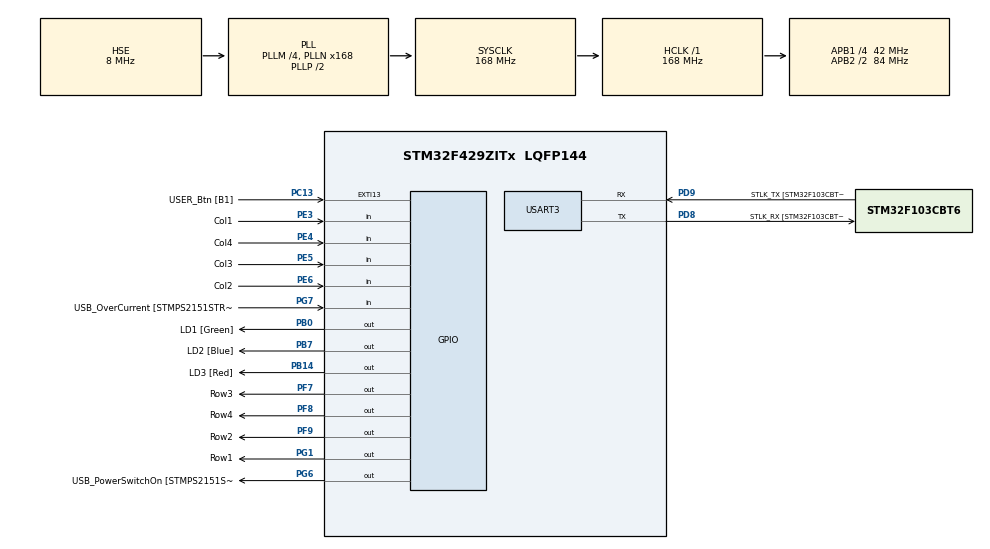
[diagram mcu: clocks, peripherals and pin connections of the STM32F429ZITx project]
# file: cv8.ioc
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Mcu.Family=STM32F4
Mcu.Name=STM32F429ZITx
Mcu.Package=LQFP144
NVIC.PriorityGroup=NVIC_PRIORITYGROUP_4
NVIC.TIM3_IRQn=true\:0\:0\:false\:false\:true\:true\:true\:true
PA1.GPIO_Label=RMII_REF_CLK [LAN8742A-CZ-TR_REFCLK0]
PA1.Signal=ETH_REF_CLK
PA10.GPIO_Label=USB_ID
PA10.Signal=USB_OTG_FS_ID
PA11.GPIO_Label=USB_DM
PA11.Signal=USB_OTG_FS_DM
PA12.GPIO_Label=USB_DP
PA12.Signal=USB_OTG_FS_DP
PA13.GPIO_Label=TMS
PA13.Mode=Serial_Wire
PA13.Signal=SYS_JTMS-SWDIO
PA14.GPIO_Label=TCK
PA14.Mode=Serial_Wire
PA14.Signal=SYS_JTCK-SWCLK
PA2.GPIO_Label=RMII_MDIO [LAN8742A-CZ-TR_MDIO]
PA2.Signal=ETH_MDIO
PA7.GPIO_Label=RMII_CRS_DV [LAN8742A-CZ-TR_CRS_DV]
PA7.Signal=ETH_CRS_DV
PA8.GPIO_Label=USB_SOF [TP1]
PA8.Signal=USB_OTG_FS_SOF
PA9.GPIO_Label=USB_VBUS
PA9.Signal=USB_OTG_FS_VBUS
PB0.GPIO_Label=LD1 [Green]
PB0.Signal=GPIO_Output
PB13.GPIO_Label=RMII_TXD1 [LAN8742A-CZ-TR_TXD1]
PB13.Signal=ETH_TXD1
PB14.GPIO_Label=LD3 [Red]
PB14.Signal=GPIO_Output
PB7.GPIO_Label=LD2 [Blue]
PB7.Signal=GPIO_Output
PC1.GPIO_Label=RMII_MDC [LAN8742A-CZ-TR_MDC]
PC1.Signal=ETH_MDC
PC13.GPIO_Label=USER_Btn [B1]
PC13.Signal=GPXTI13
PC14/OSC32_IN.Mode=LSE-External-Oscillator
PC14/OSC32_IN.Signal=RCC_OSC32_IN
PC15/OSC32_OUT.Mode=LSE-External-Oscillator
PC15/OSC32_OUT.Signal=RCC_OSC32_OUT
PC4.GPIO_Label=RMII_RXD0 [LAN8742A-CZ-TR_RXD0]
PC4.Signal=ETH_RXD0
PC5.GPIO_Label=RMII_RXD1 [LAN8742A-CZ-TR_RXD1]
PC5.Signal=ETH_RXD1
PD8.GPIO_Label=STLK_RX [STM32F103CBT6_PA3]
PD8.Mode=Asynchronous
PD8.Signal=USART3_TX
PD9.GPIO_Label=STLK_TX [STM32F103CBT6_PA2]
PD9.Mode=Asynchronous
PD9.Signal=USART3_RX
PE3.GPIO_Label=Col1
PE3.GPIO_PuPd=GPIO_PULLUP
PE3.Signal=GPIO_Input
PE4.GPIO_Label=Col4
PE4.GPIO_PuPd=GPIO_PULLUP
PE4.Signal=GPIO_Input
PE5.GPIO_Label=Col3
PE5.GPIO_PuPd=GPIO_PULLUP
PE5.Signal=GPIO_Input
PE6.GPIO_Label=Col2
PE6.GPIO_PuPd=GPIO_PULLUP
PE6.Signal=GPIO_Input
PF7.GPIO_Label=Row3
PF7.GPIO_ModeDefaultOutputPP=GPIO_MODE_OUTPUT_OD
PF7.GPIO_PuPd=GPIO_NOPULL
PF7.Signal=GPIO_Output
PF8.GPIO_Label=Row4
PF8.GPIO_ModeDefaultOutputPP=GPIO_MODE_OUTPUT_OD
PF8.GPIO_PuPd=GPIO_NOPULL
PF8.Signal=GPIO_Output
PF9.GPIO_Label=Row2
PF9.GPIO_ModeDefaultOutputPP=GPIO_MODE_OUTPUT_OD
PF9.GPIO_PuPd=GPIO_NOPULL
PF9.Signal=GPIO_Output
PG1.GPIO_Label=Row1
PG1.GPIO_ModeDefaultOutputPP=GPIO_MODE_OUTPUT_OD
PG1.GPIO_PuPd=GPIO_NOPULL
PG1.Signal=GPIO_Output
PG11.GPIO_Label=RMII_TX_EN [LAN8742A-CZ-TR_TXEN]
PG11.Signal=ETH_TX_EN
PG13.GPIO_Label=RMII_TXD0 [LAN8742A-CZ-TR_TXD0]
PG13.Signal=ETH_TXD0
PG6.GPIO_Label=USB_PowerSwitchOn [STMPS2151STR_EN]
PG6.Signal=GPIO_Output
PG7.GPIO_Label=USB_OverCurrent [STMPS2151STR_FAULT]
PG7.Signal=GPIO_Input
PH0/OSC_IN.GPIO_Label=MCO [STM32F103CBT6_PA8]
PH0/OSC_IN.Mode=HSE-External-Clock-Source
PH0/OSC_IN.Signal=RCC_OSC_IN
PH1/OSC_OUT.Mode=HSE-External-Clock-Source
PH1/OSC_OUT.Signal=RCC_OSC_OUT
ProjectManager.HeapSize=0x200
ProjectManager.StackSize=0x400
ProjectManager.TargetToolchain=STM32CubeIDE
RCC.48MHZClocksFreq_Value=48000000
RCC.AHBFreq_Value=168000000
RCC.APB1CLKDivider=RCC_HCLK_DIV4
RCC.APB1Freq_Value=42000000
RCC.APB1TimFreq_Value=84000000
RCC.APB2CLKDivider=RCC_HCLK_DIV2
RCC.APB2Freq_Value=84000000
RCC.APB2TimCLKDivider=2
RCC.APB2TimFreq_Value=168000000
RCC.CortexFreq_Value=168000000
RCC.HCLKFreq_Value=168000000
RCC.HSE_VALUE=8000000
RCC.HSI_VALUE=16000000
RCC.PLLM=4
RCC.PLLMUL=RCC_PLL_MUL9
RCC.PLLN=168
RCC.PLLQ=7
RCC.PLLSourceVirtual=RCC_PLLSOURCE_HSE
RCC.PRESCALERUSB=RCC_USBCLKSOURCE_PLL_DIV1_5
RCC.SYSCLKFreq_VALUE=168000000
RCC.SYSCLKSource=RCC_SYSCLKSOURCE_PLLCLK
RCC.SYSCLKSourceVirtual=RCC_SYSCLKSOURCE_PLLCLK
RCC.USBFreq_Value=48000000
RCC.VCOOutputFreq_Value=336000000
TIM3.Period=99
TIM3.Prescaler=8399
USART3.VirtualMode=VM_ASYNC
VP_TIM3_VS_ClockSourceINT.Mode=Internal
board=NUCLEO-F429ZI

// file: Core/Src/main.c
/* USER CODE BEGIN Header */
/**
  ******************************************************************************
  * @file           : main.c
  * @brief          : Main program body
  ******************************************************************************
  * @attention
  *
  * Copyright (c) 2023 STMicroelectronics.
  * All rights reserved.
  *
  * This software is licensed under terms that can be found in the LICENSE file
  * in the root directory of this software component.
  * If no LICENSE file comes with this software, it is provided AS-IS.
  *
  ******************************************************************************
  */
/* USER CODE END Header */
#include "main.h"

/* USER CODE BEGIN Includes */
#include <stdio.h>
/* USER CODE END Includes */

TIM_HandleTypeDef htim3;

UART_HandleTypeDef huart3;

/* USER CODE BEGIN PV */
volatile static int8_t key = -1;
volatile static uint8_t compare = 0;
/* USER CODE END PV */

void SystemClock_Config(void);
static void MX_GPIO_Init(void);
static void MX_USART3_UART_Init(void);
static void MX_TIM3_Init(void);

/* USER CODE BEGIN 0 */
int __io_putchar(int ch)
{
	ITM_SendChar(ch);
	return 0;
}

/* USER CODE END 0 */

int main(void)
{

  /* MCU Configuration--------------------------------------------------------*/

  /* Reset of all peripherals, Initializes the Flash interface and the Systick. */
  HAL_Init();

  /* Configure the system clock */
  SystemClock_Config();

  /* USER CODE BEGIN SysInit */
  uint8_t pin [] = {7,9,3,2,12};
  uint8_t pos = 0;

  /* USER CODE END SysInit */

  /* Initialize all configured peripherals */
  MX_GPIO_Init();
  MX_USART3_UART_Init();
  MX_TIM3_Init();
  /* USER CODE BEGIN 2 */
  HAL_TIM_Base_Start_IT(&htim3);
  /* USER CODE END 2 */

  /* Infinite loop */
  /* USER CODE BEGIN WHILE */
  while (1)
  {

	  //printf("hello\n");
	  if (key!=-1)
	  {
		  if (key==pin[pos])
		  {
			  pos++;
			  if (pos ==sizeof(pin))
			  {
				  HAL_GPIO_TogglePin(LD1_GPIO_Port, LD1_Pin);
				  printf("spravne heslo\n");
				  pos =0;
			  }

		  }else {
			  pos =0;
		  }

		  printf("pin = %d > pos = %d\n", key, pos);
		  HAL_Delay(500);
		  key = -1;
	  }

    /* USER CODE END WHILE */

  }
}

void SystemClock_Config(void)
{
  RCC_OscInitTypeDef RCC_OscInitStruct = {0};
  RCC_ClkInitTypeDef RCC_ClkInitStruct = {0};

  /** Configure the main internal regulator output voltage
  */
  __HAL_RCC_PWR_CLK_ENABLE();
  __HAL_PWR_VOLTAGESCALING_CONFIG(PWR_REGULATOR_VOLTAGE_SCALE1);

  /** Initializes the RCC Oscillators according to the specified parameters
  * in the RCC_OscInitTypeDef structure.
  */
  RCC_OscInitStruct.OscillatorType = RCC_OSCILLATORTYPE_HSE;
  RCC_OscInitStruct.HSEState = RCC_HSE_BYPASS;
  RCC_OscInitStruct.PLL.PLLState = RCC_PLL_ON;
  RCC_OscInitStruct.PLL.PLLSource = RCC_PLLSOURCE_HSE;
  RCC_OscInitStruct.PLL.PLLM = 4;
  RCC_OscInitStruct.PLL.PLLN = 168;
  RCC_OscInitStruct.PLL.PLLP = RCC_PLLP_DIV2;
  RCC_OscInitStruct.PLL.PLLQ = 7;
  if (HAL_RCC_OscConfig(&RCC_OscInitStruct) != HAL_OK)
  {
    Error_Handler();
  }

  /** Initializes the CPU, AHB and APB buses clocks
  */
  RCC_ClkInitStruct.ClockType = RCC_CLOCKTYPE_HCLK|RCC_CLOCKTYPE_SYSCLK
                              |RCC_CLOCKTYPE_PCLK1|RCC_CLOCKTYPE_PCLK2;
  RCC_ClkInitStruct.SYSCLKSource = RCC_SYSCLKSOURCE_PLLCLK;
  RCC_ClkInitStruct.AHBCLKDivider = RCC_SYSCLK_DIV1;
  RCC_ClkInitStruct.APB1CLKDivider = RCC_HCLK_DIV4;
  RCC_ClkInitStruct.APB2CLKDivider = RCC_HCLK_DIV2;

  if (HAL_RCC_ClockConfig(&RCC_ClkInitStruct, FLASH_LATENCY_5) != HAL_OK)
  {
    Error_Handler();
  }
}

static void MX_TIM3_Init(void)
{

  TIM_ClockConfigTypeDef sClockSourceConfig = {0};
  TIM_MasterConfigTypeDef sMasterConfig = {0};

  htim3.Instance = TIM3;
  htim3.Init.Prescaler = 8399;
  htim3.Init.CounterMode = TIM_COUNTERMODE_UP;
  htim3.Init.Period = 99;
  htim3.Init.ClockDivision = TIM_CLOCKDIVISION_DIV1;
  htim3.Init.AutoReloadPreload = TIM_AUTORELOAD_PRELOAD_DISABLE;
  if (HAL_TIM_Base_Init(&htim3) != HAL_OK)
  {
    Error_Handler();
  }
  sClockSourceConfig.ClockSource = TIM_CLOCKSOURCE_INTERNAL;
  if (HAL_TIM_ConfigClockSource(&htim3, &sClockSourceConfig) != HAL_OK)
  {
    Error_Handler();
  }
  sMasterConfig.MasterOutputTrigger = TIM_TRGO_RESET;
  sMasterConfig.MasterSlaveMode = TIM_MASTERSLAVEMODE_DISABLE;
  if (HAL_TIMEx_MasterConfigSynchronization(&htim3, &sMasterConfig) != HAL_OK)
  {
    Error_Handler();
  }

}

static void MX_USART3_UART_Init(void)
{

  huart3.Instance = USART3;
  huart3.Init.BaudRate = 115200;
  huart3.Init.WordLength = UART_WORDLENGTH_8B;
  huart3.Init.StopBits = UART_STOPBITS_1;
  huart3.Init.Parity = UART_PARITY_NONE;
  huart3.Init.Mode = UART_MODE_TX_RX;
  huart3.Init.HwFlowCtl = UART_HWCONTROL_NONE;
  huart3.Init.OverSampling = UART_OVERSAMPLING_16;
  if (HAL_UART_Init(&huart3) != HAL_OK)
  {
    Error_Handler();
  }

}

static void MX_GPIO_Init(void)
{
  GPIO_InitTypeDef GPIO_InitStruct = {0};

  /* GPIO Ports Clock Enable */
  __HAL_RCC_GPIOE_CLK_ENABLE();
  __HAL_RCC_GPIOC_CLK_ENABLE();
  __HAL_RCC_GPIOF_CLK_ENABLE();
  __HAL_RCC_GPIOH_CLK_ENABLE();
  __HAL_RCC_GPIOA_CLK_ENABLE();
  __HAL_RCC_GPIOB_CLK_ENABLE();
  __HAL_RCC_GPIOG_CLK_ENABLE();
  __HAL_RCC_GPIOD_CLK_ENABLE();

  /*Configure GPIO pin Output Level */
  HAL_GPIO_WritePin(GPIOF, Row3_Pin|Row4_Pin|Row2_Pin, GPIO_PIN_RESET);

  /*Configure GPIO pin Output Level */
  HAL_GPIO_WritePin(GPIOB, LD1_Pin|LD3_Pin|LD2_Pin, GPIO_PIN_RESET);

  /*Configure GPIO pin Output Level */
  HAL_GPIO_WritePin(GPIOG, Row1_Pin|USB_PowerSwitchOn_Pin, GPIO_PIN_RESET);

  /*Configure GPIO pins : Col1_Pin Col4_Pin Col3_Pin Col2_Pin */
  GPIO_InitStruct.Pin = Col1_Pin|Col4_Pin|Col3_Pin|Col2_Pin;
  GPIO_InitStruct.Mode = GPIO_MODE_INPUT;
  GPIO_InitStruct.Pull = GPIO_PULLUP;
  HAL_GPIO_Init(GPIOE, &GPIO_InitStruct);

  /*Configure GPIO pin : USER_Btn_Pin */
  GPIO_InitStruct.Pin = USER_Btn_Pin;
  GPIO_InitStruct.Mode = GPIO_MODE_IT_RISING;
  GPIO_InitStruct.Pull = GPIO_NOPULL;
  HAL_GPIO_Init(USER_Btn_GPIO_Port, &GPIO_InitStruct);

  /*Configure GPIO pins : Row3_Pin Row4_Pin Row2_Pin */
  GPIO_InitStruct.Pin = Row3_Pin|Row4_Pin|Row2_Pin;
  GPIO_InitStruct.Mode = GPIO_MODE_OUTPUT_OD;
  GPIO_InitStruct.Pull = GPIO_NOPULL;
  GPIO_InitStruct.Speed = GPIO_SPEED_FREQ_LOW;
  HAL_GPIO_Init(GPIOF, &GPIO_InitStruct);

  /*Configure GPIO pins : RMII_MDC_Pin RMII_RXD0_Pin RMII_RXD1_Pin */
  GPIO_InitStruct.Pin = RMII_MDC_Pin|RMII_RXD0_Pin|RMII_RXD1_Pin;
  GPIO_InitStruct.Mode = GPIO_MODE_AF_PP;
  GPIO_InitStruct.Pull = GPIO_NOPULL;
  GPIO_InitStruct.Speed = GPIO_SPEED_FREQ_VERY_HIGH;
  GPIO_InitStruct.Alternate = GPIO_AF11_ETH;
  HAL_GPIO_Init(GPIOC, &GPIO_InitStruct);

  /*Configure GPIO pins : RMII_REF_CLK_Pin RMII_MDIO_Pin RMII_CRS_DV_Pin */
  GPIO_InitStruct.Pin = RMII_REF_CLK_Pin|RMII_MDIO_Pin|RMII_CRS_DV_Pin;
  GPIO_InitStruct.Mode = GPIO_MODE_AF_PP;
  GPIO_InitStruct.Pull = GPIO_NOPULL;
  GPIO_InitStruct.Speed = GPIO_SPEED_FREQ_VERY_HIGH;
  GPIO_InitStruct.Alternate = GPIO_AF11_ETH;
  HAL_GPIO_Init(GPIOA, &GPIO_InitStruct);

  /*Configure GPIO pins : LD1_Pin LD3_Pin LD2_Pin */
  GPIO_InitStruct.Pin = LD1_Pin|LD3_Pin|LD2_Pin;
  GPIO_InitStruct.Mode = GPIO_MODE_OUTPUT_PP;
  GPIO_InitStruct.Pull = GPIO_NOPULL;
  GPIO_InitStruct.Speed = GPIO_SPEED_FREQ_LOW;
  HAL_GPIO_Init(GPIOB, &GPIO_InitStruct);

  /*Configure GPIO pin : Row1_Pin */
  GPIO_InitStruct.Pin = Row1_Pin;
  GPIO_InitStruct.Mode = GPIO_MODE_OUTPUT_OD;
  GPIO_InitStruct.Pull = GPIO_NOPULL;
  GPIO_InitStruct.Speed = GPIO_SPEED_FREQ_LOW;
  HAL_GPIO_Init(Row1_GPIO_Port, &GPIO_InitStruct);

  /*Configure GPIO pin : RMII_TXD1_Pin */
  GPIO_InitStruct.Pin = RMII_TXD1_Pin;
  GPIO_InitStruct.Mode = GPIO_MODE_AF_PP;
  GPIO_InitStruct.Pull = GPIO_NOPULL;
  GPIO_InitStruct.Speed = GPIO_SPEED_FREQ_VERY_HIGH;
  GPIO_InitStruct.Alternate = GPIO_AF11_ETH;
  HAL_GPIO_Init(RMII_TXD1_GPIO_Port, &GPIO_InitStruct);

  /*Configure GPIO pin : USB_PowerSwitchOn_Pin */
  GPIO_InitStruct.Pin = USB_PowerSwitchOn_Pin;
  GPIO_InitStruct.Mode = GPIO_MODE_OUTPUT_PP;
  GPIO_InitStruct.Pull = GPIO_NOPULL;
  GPIO_InitStruct.Speed = GPIO_SPEED_FREQ_LOW;
  HAL_GPIO_Init(USB_PowerSwitchOn_GPIO_Port, &GPIO_InitStruct);

  /*Configure GPIO pin : USB_OverCurrent_Pin */
  GPIO_InitStruct.Pin = USB_OverCurrent_Pin;
  GPIO_InitStruct.Mode = GPIO_MODE_INPUT;
  GPIO_InitStruct.Pull = GPIO_NOPULL;
  HAL_GPIO_Init(USB_OverCurrent_GPIO_Port, &GPIO_InitStruct);

  /*Configure GPIO pins : USB_SOF_Pin USB_ID_Pin USB_DM_Pin USB_DP_Pin */
  GPIO_InitStruct.Pin = USB_SOF_Pin|USB_ID_Pin|USB_DM_Pin|USB_DP_Pin;
  GPIO_InitStruct.Mode = GPIO_MODE_AF_PP;
  GPIO_InitStruct.Pull = GPIO_NOPULL;
  GPIO_InitStruct.Speed = GPIO_SPEED_FREQ_VERY_HIGH;
  GPIO_InitStruct.Alternate = GPIO_AF10_OTG_FS;
  HAL_GPIO_Init(GPIOA, &GPIO_InitStruct);

  /*Configure GPIO pin : USB_VBUS_Pin */
  GPIO_InitStruct.Pin = USB_VBUS_Pin;
  GPIO_InitStruct.Mode = GPIO_MODE_INPUT;
  GPIO_InitStruct.Pull = GPIO_NOPULL;
  HAL_GPIO_Init(USB_VBUS_GPIO_Port, &GPIO_InitStruct);

  /*Configure GPIO pins : RMII_TX_EN_Pin RMII_TXD0_Pin */
  GPIO_InitStruct.Pin = RMII_TX_EN_Pin|RMII_TXD0_Pin;
  GPIO_InitStruct.Mode = GPIO_MODE_AF_PP;
  GPIO_InitStruct.Pull = GPIO_NOPULL;
  GPIO_InitStruct.Speed = GPIO_SPEED_FREQ_VERY_HIGH;
  GPIO_InitStruct.Alternate = GPIO_AF11_ETH;
  HAL_GPIO_Init(GPIOG, &GPIO_InitStruct);

}

/* USER CODE BEGIN 4 */
void HAL_TIM_PeriodElapsedCallback(TIM_HandleTypeDef *htim)
{
 static int row = 0;
 static const int keyboard[4][4] = {
 { 1, 2, 3, 21 },
 { 4, 5, 6, 22 },
 { 7, 8, 9, 23 },
 { 11, 0, 12, 24 },
 };
 if (key == -1) {
 if (HAL_GPIO_ReadPin(Col1_GPIO_Port, Col1_Pin) == GPIO_PIN_RESET) key = keyboard[row][0];
 if (HAL_GPIO_ReadPin(Col2_GPIO_Port, Col2_Pin) == GPIO_PIN_RESET) key = keyboard[row][1];
 if (HAL_GPIO_ReadPin(Col3_GPIO_Port, Col3_Pin) == GPIO_PIN_RESET) key = keyboard[row][2];
 if (HAL_GPIO_ReadPin(Col4_GPIO_Port, Col4_Pin) == GPIO_PIN_RESET) key = keyboard[row][3];
 }
 HAL_GPIO_WritePin(Row1_GPIO_Port, Row1_Pin, GPIO_PIN_SET);
 HAL_GPIO_WritePin(Row2_GPIO_Port, Row2_Pin, GPIO_PIN_SET);
 HAL_GPIO_WritePin(Row3_GPIO_Port, Row3_Pin, GPIO_PIN_SET);
 HAL_GPIO_WritePin(Row4_GPIO_Port, Row4_Pin, GPIO_PIN_SET);
 switch (row) {
 case 0: row = 1; HAL_GPIO_WritePin(Row2_GPIO_Port, Row2_Pin, GPIO_PIN_RESET); break;
 case 1: row = 2; HAL_GPIO_WritePin(Row3_GPIO_Port, Row3_Pin, GPIO_PIN_RESET); break;
 case 2: row = 3; HAL_GPIO_WritePin(Row4_GPIO_Port, Row4_Pin, GPIO_PIN_RESET); break;
 case 3: row = 0; HAL_GPIO_WritePin(Row1_GPIO_Port, Row1_Pin, GPIO_PIN_RESET); break;
 }
}

/* USER CODE END 4 */

void Error_Handler(void)
{
  __disable_irq();
  while (1)
  {
  }
}
